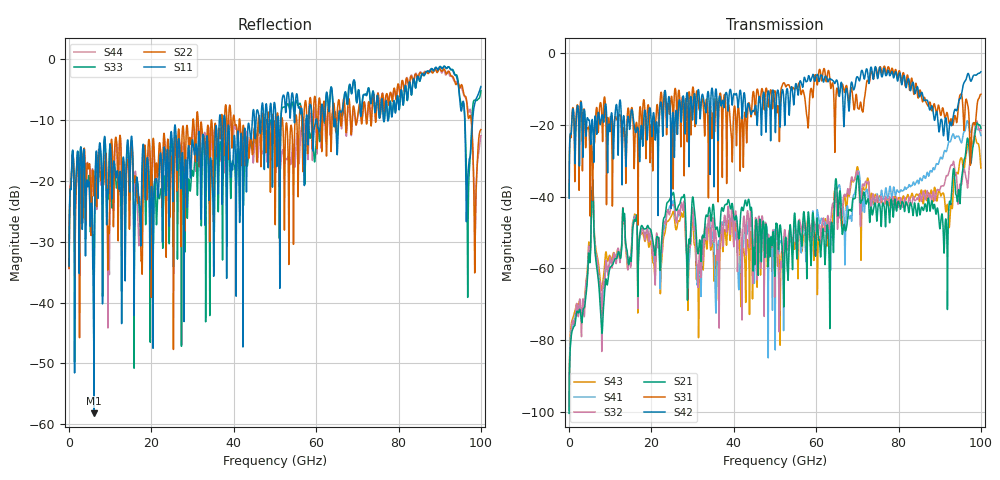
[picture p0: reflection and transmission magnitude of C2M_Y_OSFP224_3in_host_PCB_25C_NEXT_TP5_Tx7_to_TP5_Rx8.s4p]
# GHz S RI R 45
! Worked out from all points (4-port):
!   4000 points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, 25 MHz to 100 GHz, reference 45 ohm
!   strongest paths, dB at 25 MHz, 25.02 GHz, 50.02 GHz, 75.03 GHz, 100 GHz:
!     S42: -40.5, -19.2, -19.1, -6.9, -5.3
!     S31: -40.1, -12.9, -10.6, -6.6, -11.6
!     S21: -100.3, -39.6, -56.5, -42.9, -21.0
!     S32: -98.5, -42.4, -55.6, -41.0, -21.7
!     S41: -99.4, -42.2, -60.7, -40.2, -23.0
!     S43: -97.8, -45.0, -56.7, -41.2, -32.1
!   lowest |S11| = -58.2 dB at 6.05 GHz (marker M1), VSWR 1.00, Z = 44.9 + j0.0964 ohm
!   |S11| at or under -10 dB: start of sweep to 36.5 GHz; 37.88 GHz to 44.5 GHz (6.618 GHz wide, 16.1 % of centre); 96.08 GHz to 98 GHz (1.926 GHz wide, 1.98 % of centre)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
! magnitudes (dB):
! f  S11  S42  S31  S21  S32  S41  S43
! 25 MHz  -34.0  -40.5  -40.1  -100.3  -98.5  -99.4  -97.8
! 6.05 GHz  -58.2  -28.2  -24.9  -49.1  -48.0  -48.3  -47.5
! 8 GHz  -21.5  -17.3  -18.7  -78.1  -77.6  -70.5  -65.6
! 25.05 GHz  -14.2  -18.6  -13.3  -39.5  -42.4  -42.1  -44.9
! 51.33 GHz  -13.7  -18.8  -12.4  -48.1  -59.2  -52.4  -65.2
! 91.47 GHz  -1.4  -18.0  -17.7  -46.2  -34.7  -27.5  -44.2
! 100 GHz  -4.5  -5.3  -11.6  -21.0  -21.7  -23.0  -32.1
